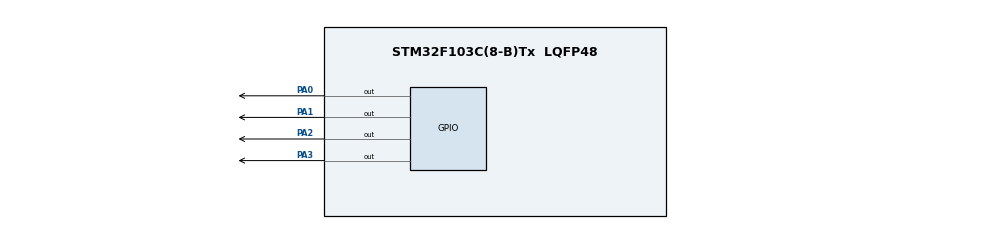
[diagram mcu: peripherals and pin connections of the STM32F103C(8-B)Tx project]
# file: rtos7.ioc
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FREERTOS.Tasks01=defaultTask,24,128,StartDefaultTask,Default,NULL,Dynamic,NULL,NULL;StartGreenLed,24,128,GreenLedTask,Default,NULL,Dynamic,NULL,NULL;StartRedLed,24,128,RedLedTask,Default,NULL,Dynamic,NULL,NULL;StartOrangeLed,32,128,OrangeLedTask,Default,NULL,Dynamic,NULL,NULL
Mcu.Family=STM32F1
Mcu.Name=STM32F103C(8-B)Tx
Mcu.Package=LQFP48
NVIC.PriorityGroup=NVIC_PRIORITYGROUP_4
PA0-WKUP.Signal=GPIO_Output
PA1.Signal=GPIO_Output
PA13.Mode=Serial_Wire
PA13.Signal=SYS_JTMS-SWDIO
PA14.Mode=Serial_Wire
PA14.Signal=SYS_JTCK-SWCLK
PA2.Signal=GPIO_Output
PA3.Signal=GPIO_Output
ProjectManager.HeapSize=0x200
ProjectManager.StackSize=0x400
ProjectManager.TargetToolchain=STM32CubeIDE
RCC.APB1Freq_Value=8000000
RCC.APB2Freq_Value=8000000
VP_FREERTOS_VS_CMSIS_V2.Mode=CMSIS_V2
board=custom

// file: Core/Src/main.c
/* USER CODE BEGIN Header */
/**
  ******************************************************************************
  * @file           : main.c
  * @brief          : Main program body
  ******************************************************************************
  * @attention
  *
  * Copyright (c) 2024 STMicroelectronics.
  * All rights reserved.
  *
  * This software is licensed under terms that can be found in the LICENSE file
  * in the root directory of this software component.
  * If no LICENSE file comes with this software, it is provided AS-IS.
  *
  ******************************************************************************
  */
/* USER CODE END Header */
#include "main.h"
#include "cmsis_os.h"

/* USER CODE BEGIN Includes */
#include "task.h"
/* USER CODE END Includes */

/* Definitions for defaultTask */
osThreadId_t defaultTaskHandle;
const osThreadAttr_t defaultTask_attributes = {
  .name = "defaultTask",
  .stack_size = 128 * 4,
  .priority = (osPriority_t) osPriorityNormal,
};
/* Definitions for StartGreenLed */
osThreadId_t StartGreenLedHandle;
const osThreadAttr_t StartGreenLed_attributes = {
  .name = "StartGreenLed",
  .stack_size = 128 * 4,
  .priority = (osPriority_t) osPriorityNormal,
};
/* Definitions for StartRedLed */
osThreadId_t StartRedLedHandle;
const osThreadAttr_t StartRedLed_attributes = {
  .name = "StartRedLed",
  .stack_size = 128 * 4,
  .priority = (osPriority_t) osPriorityNormal,
};
/* Definitions for StartOrangeLed */
osThreadId_t StartOrangeLedHandle;
const osThreadAttr_t StartOrangeLed_attributes = {
  .name = "StartOrangeLed",
  .stack_size = 128 * 4,
  .priority = (osPriority_t) osPriorityAboveNormal,
};
/* USER CODE BEGIN PV */
uint8_t StartFlag; // 1 means Up, 0 means Down
volatile uint8_t RedFlag; // 1 means Up, 0 means Down
volatile uint8_t GreenFlag; // 1 means Up, 0 means Down
/* USER CODE END PV */

void SystemClock_Config(void);
static void MX_GPIO_Init(void);
void StartDefaultTask(void *argument);
void GreenLedTask(void *argument);
void RedLedTask(void *argument);
void OrangeLedTask(void *argument);

int main(void)
{

  /* USER CODE BEGIN 1 */
	StartFlag = 1;
	GreenFlag = 1;
	RedFlag = 1;
  /* USER CODE END 1 */

  /* MCU Configuration--------------------------------------------------------*/

  /* Reset of all peripherals, Initializes the Flash interface and the Systick. */
  HAL_Init();
  HAL_GPIO_WritePin(GPIOA, GPIO_PIN_2, GPIO_PIN_SET);

  /* Configure the system clock */
  SystemClock_Config();

  /* Initialize all configured peripherals */
  MX_GPIO_Init();

  /* Init scheduler */
  osKernelInitialize();

  /* Create the thread(s) */
  /* creation of defaultTask */
  defaultTaskHandle = osThreadNew(StartDefaultTask, NULL, &defaultTask_attributes);

  /* creation of StartGreenLed */
  StartGreenLedHandle = osThreadNew(GreenLedTask, NULL, &StartGreenLed_attributes);

  /* creation of StartRedLed */
  StartRedLedHandle = osThreadNew(RedLedTask, NULL, &StartRedLed_attributes);

  /* creation of StartOrangeLed */
  StartOrangeLedHandle = osThreadNew(OrangeLedTask, NULL, &StartOrangeLed_attributes);

  /* Start scheduler */
  osKernelStart();

  /* We should never get here as control is now taken by the scheduler */

  /* Infinite loop */
  while (1)
  {

  }
}

void SystemClock_Config(void)
{
  RCC_OscInitTypeDef RCC_OscInitStruct = {0};
  RCC_ClkInitTypeDef RCC_ClkInitStruct = {0};

  /** Initializes the RCC Oscillators according to the specified parameters
  * in the RCC_OscInitTypeDef structure.
  */
  RCC_OscInitStruct.OscillatorType = RCC_OSCILLATORTYPE_HSI;
  RCC_OscInitStruct.HSIState = RCC_HSI_ON;
  RCC_OscInitStruct.HSICalibrationValue = RCC_HSICALIBRATION_DEFAULT;
  RCC_OscInitStruct.PLL.PLLState = RCC_PLL_NONE;
  if (HAL_RCC_OscConfig(&RCC_OscInitStruct) != HAL_OK)
  {
    Error_Handler();
  }

  /** Initializes the CPU, AHB and APB buses clocks
  */
  RCC_ClkInitStruct.ClockType = RCC_CLOCKTYPE_HCLK|RCC_CLOCKTYPE_SYSCLK
                              |RCC_CLOCKTYPE_PCLK1|RCC_CLOCKTYPE_PCLK2;
  RCC_ClkInitStruct.SYSCLKSource = RCC_SYSCLKSOURCE_HSI;
  RCC_ClkInitStruct.AHBCLKDivider = RCC_SYSCLK_DIV1;
  RCC_ClkInitStruct.APB1CLKDivider = RCC_HCLK_DIV1;
  RCC_ClkInitStruct.APB2CLKDivider = RCC_HCLK_DIV1;

  if (HAL_RCC_ClockConfig(&RCC_ClkInitStruct, FLASH_LATENCY_0) != HAL_OK)
  {
    Error_Handler();
  }
}

static void MX_GPIO_Init(void)
{
  GPIO_InitTypeDef GPIO_InitStruct = {0};

  /* GPIO Ports Clock Enable */
  __HAL_RCC_GPIOA_CLK_ENABLE();

  /*Configure GPIO pin Output Level */
  HAL_GPIO_WritePin(GPIOA, GPIO_PIN_0|GPIO_PIN_1|GPIO_PIN_2|GPIO_PIN_3, GPIO_PIN_RESET);

  /*Configure GPIO pins : PA0 PA1 PA2 PA3 */
  GPIO_InitStruct.Pin = GPIO_PIN_0|GPIO_PIN_1|GPIO_PIN_2|GPIO_PIN_3;
  GPIO_InitStruct.Mode = GPIO_MODE_OUTPUT_PP;
  GPIO_InitStruct.Pull = GPIO_NOPULL;
  GPIO_InitStruct.Speed = GPIO_SPEED_FREQ_LOW;
  HAL_GPIO_Init(GPIOA, &GPIO_InitStruct);

}

/* USER CODE BEGIN 4 */
void AccessSharedData(void) {
    if (StartFlag == 1) {
        // Set Start flag to Down to indicate resource is in use
        StartFlag = 0;
    } else {
        // Resource contention: Turn on Blue LED
        HAL_GPIO_WritePin(GPIOA, GPIO_PIN_2, GPIO_PIN_SET);
    }

    // Simulate read/write operations with a delay of 500 milliseconds
    //SimulateReadWriteOperation();
    osDelay(500);
    // Set Start flag back to Up to indicate resource is free
    StartFlag = 1;

    // Turn off Blue LED (if it was turned on during contention)
    HAL_GPIO_WritePin(GPIOA, GPIO_PIN_2, GPIO_PIN_RESET);
}

void SimulateReadWriteOperation(void) {
    volatile uint32_t delay_count = 0;
    const uint32_t delay_target = 2000000; // Adjust this value to approximate 500 ms

    // Dummy loop to simulate processing time
    for (delay_count = 0; delay_count < delay_target; delay_count++) {
        __asm("nop"); // No Operation: Keeps the processor busy without changing code behavior
    }
}
/* USER CODE END 4 */

void StartDefaultTask(void *argument)
{
  for(;;)
  {
    osDelay(1);
  }
}

void GreenLedTask(void *argument)
{
  /* USER CODE BEGIN GreenLedTask */
  /* Infinite loop */
  for(;;)
  {
      GreenFlag = 1;
      // Turn on Green LED
      HAL_GPIO_WritePin(GPIOA, GPIO_PIN_0, GPIO_PIN_SET);

      // Enter critical section
      taskENTER_CRITICAL();
      AccessSharedData();
      taskEXIT_CRITICAL(); // Corrected macro usage

      // Turn off Green LED
      osDelay(200);
      HAL_GPIO_WritePin(GPIOA, GPIO_PIN_0, GPIO_PIN_RESET);

      GreenFlag = 0;
      // Delay for 500 milliseconds
      osDelay(200);
  }
  /* USER CODE END GreenLedTask */
}

void RedLedTask(void *argument)
{
  /* USER CODE BEGIN RedLedTask */
  /* Infinite loop */
  for(;;)
  {
      RedFlag = 1;
      // Turn on Red LED
      HAL_GPIO_WritePin(GPIOA, GPIO_PIN_1, GPIO_PIN_SET);

      // Enter critical section
      taskENTER_CRITICAL();
      AccessSharedData();
      taskEXIT_CRITICAL(); // Corrected macro usage

      // Turn off Red LED
      osDelay(550);
      HAL_GPIO_WritePin(GPIOA, GPIO_PIN_1, GPIO_PIN_RESET);

      RedFlag = 0;
      // Delay for 100 milliseconds
      osDelay(550);
  }
  /* USER CODE END RedLedTask */
}

void OrangeLedTask(void *argument)
{
  /* USER CODE BEGIN OrangeLedTask */
  /* Infinite loop */
  for(;;)
  {
	  HAL_GPIO_TogglePin(GPIOA, GPIO_PIN_3);
	  osDelay(50);
  }
  /* USER CODE END OrangeLedTask */
}

void Error_Handler(void)
{
  __disable_irq();
  while (1)
  {
  }
}
